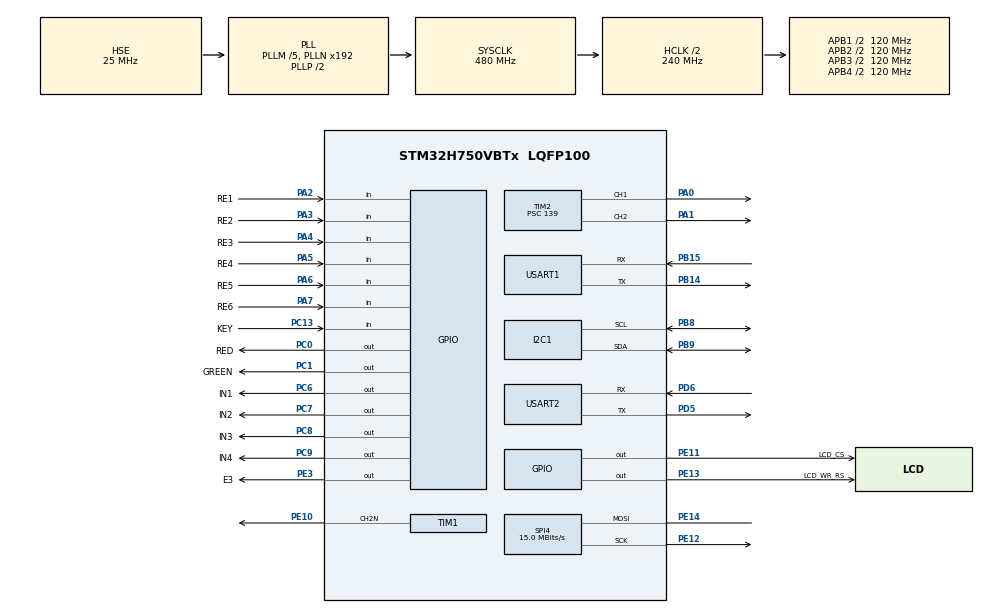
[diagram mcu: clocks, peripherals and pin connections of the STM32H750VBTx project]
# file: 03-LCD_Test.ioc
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I2C1.Timing=0x307075B1
Mcu.Family=STM32H7
Mcu.Name=STM32H750VBTx
Mcu.Package=LQFP100
NVIC.PriorityGroup=NVIC_PRIORITYGROUP_4
NVIC.TIM7_IRQn=true\:0\:0\:false\:false\:true\:true\:true
NVIC.USART2_IRQn=true\:0\:0\:false\:false\:true\:true\:true
PA0.Signal=S_TIM2_CH1
PA1.Signal=S_TIM2_CH2
PA13\ (JTMS/SWDIO).Mode=Serial_Wire
PA13\ (JTMS/SWDIO).Signal=DEBUG_JTMS-SWDIO
PA14\ (JTCK/SWCLK).Mode=Serial_Wire
PA14\ (JTCK/SWCLK).Signal=DEBUG_JTCK-SWCLK
PA2.GPIO_Label=RE1
PA2.Signal=GPIO_Input
PA3.GPIO_Label=RE2
PA3.Signal=GPIO_Input
PA4.GPIO_Label=RE3
PA4.Signal=GPIO_Input
PA5.GPIO_Label=RE4
PA5.Signal=GPIO_Input
PA6.GPIO_Label=RE5
PA6.Signal=GPIO_Input
PA7.GPIO_Label=RE6
PA7.Signal=GPIO_Input
PB14.Mode=Asynchronous
PB14.Signal=USART1_TX
PB15.Mode=Asynchronous
PB15.Signal=USART1_RX
PB8.GPIO_Pu=GPIO_PULLUP
PB8.GPIO_Speed=GPIO_SPEED_FREQ_HIGH
PB8.Mode=I2C
PB8.Signal=I2C1_SCL
PB9.GPIO_Pu=GPIO_PULLUP
PB9.GPIO_Speed=GPIO_SPEED_FREQ_HIGH
PB9.Mode=I2C
PB9.Signal=I2C1_SDA
PC0.GPIO_Label=RED
PC0.Signal=GPIO_Output
PC1.GPIO_Label=GREEN
PC1.Signal=GPIO_Output
PC13.GPIO_Label=KEY
PC13.GPIO_PuPd=GPIO_PULLDOWN
PC13.Signal=GPIO_Input
PC14-OSC32_IN\ (OSC32_IN).Mode=LSE-External-Oscillator
PC14-OSC32_IN\ (OSC32_IN).Signal=RCC_OSC32_IN
PC15-OSC32_OUT\ (OSC32_OUT).Mode=LSE-External-Oscillator
PC15-OSC32_OUT\ (OSC32_OUT).Signal=RCC_OSC32_OUT
PC6.GPIO_Label=IN1
PC6.Signal=GPIO_Output
PC7.GPIO_Label=IN2
PC7.Signal=GPIO_Output
PC8.GPIO_Label=IN3
PC8.Signal=GPIO_Output
PC9.GPIO_Label=IN4
PC9.Signal=GPIO_Output
PD5.Mode=Asynchronous
PD5.Signal=USART2_TX
PD6.Mode=Asynchronous
PD6.Signal=USART2_RX
PE10.Mode=PWM Generation2 CH2N
PE10.Signal=TIM1_CH2N
PE11.GPIO_Label=LCD_CS
PE11.GPIO_Speed=GPIO_SPEED_FREQ_VERY_HIGH
PE11.PinState=GPIO_PIN_SET
PE11.Signal=GPIO_Output
PE12.GPIO_Speed=GPIO_SPEED_FREQ_HIGH
PE12.Mode=Simplex_Bidirectional_Master
PE12.Signal=SPI4_SCK
PE13.GPIO_Label=LCD_WR_RS
PE13.GPIO_Speed=GPIO_SPEED_FREQ_VERY_HIGH
PE13.PinState=GPIO_PIN_SET
PE13.Signal=GPIO_Output
PE14.GPIO_Speed=GPIO_SPEED_FREQ_HIGH
PE14.Mode=Simplex_Bidirectional_Master
PE14.Signal=SPI4_MOSI
PE3.GPIO_Label=E3
PE3.PinState=GPIO_PIN_RESET
PE3.Signal=GPIO_Output
PH0-OSC_IN\ (PH0).Mode=HSE-External-Oscillator
PH0-OSC_IN\ (PH0).Signal=RCC_OSC_IN
PH1-OSC_OUT\ (PH1).Mode=HSE-External-Oscillator
PH1-OSC_OUT\ (PH1).Signal=RCC_OSC_OUT
ProjectManager.HeapSize=0x200
ProjectManager.StackSize=0x400
ProjectManager.TargetToolchain=MDK-ARM V5.27
RCC.ADCFreq_Value=83333333.33333333
RCC.APB1Freq_Value=120000000
RCC.APB2Freq_Value=120000000
RCC.APB3Freq_Value=120000000
RCC.APB4Freq_Value=120000000
RCC.CortexFreq_Value=480000000
RCC.D1PPRE=RCC_APB3_DIV2
RCC.D2PPRE1=RCC_APB1_DIV2
RCC.D2PPRE2=RCC_APB2_DIV2
RCC.D3PPRE=RCC_APB4_DIV2
RCC.DIVM1=5
RCC.DIVM2=6
RCC.DIVN1=192
RCC.DIVN2=40
RCC.DIVQ2=1
RCC.HCLKFreq_Value=240000000
RCC.HPRE=RCC_HCLK_DIV2
RCC.HSE_VALUE=25000000
RCC.PLLFRACN=0
RCC.PLLSourceVirtual=RCC_PLLSOURCE_HSE
RCC.RTCClockSelection=RCC_RTCCLKSOURCE_LSE
RCC.SYSCLKFreq_VALUE=480000000
RCC.SYSCLKSource=RCC_SYSCLKSOURCE_PLLCLK
RCC.USBFreq_Value=480000000
RTC.Hours=12
RTC.Month=RTC_MONTH_JUNE
RTC.Year=20
SH.S_TIM2_CH1.0=TIM2_CH1,PWM Generation1 CH1
SH.S_TIM2_CH2.0=TIM2_CH2,PWM Generation2 CH2
SPI4.BaudRatePrescaler=SPI_BAUDRATEPRESCALER_8
SPI4.CalculateBaudRate=15.0 MBits/s
SPI4.DataSize=SPI_DATASIZE_8BIT
SPI4.Direction=SPI_DIRECTION_1LINE
SPI4.Mode=SPI_MODE_MASTER
SPI4.VirtualType=VM_MASTER
TIM1.Channel-PWM\ Generation2\ CH2N=TIM_CHANNEL_2
TIM1.OCNPolarity_2=TIM_OCNPOLARITY_LOW
TIM1.Period=1000-1
TIM1.Prescaler=12-1
TIM2.AutoReloadPreload=TIM_AUTORELOAD_PRELOAD_ENABLE
TIM2.Channel-PWM\ Generation1\ CH1=TIM_CHANNEL_1
TIM2.Channel-PWM\ Generation2\ CH2=TIM_CHANNEL_2
TIM2.Period=999
TIM2.Prescaler=139
TIM7.AutoReloadPreload=TIM_AUTORELOAD_PRELOAD_ENABLE
TIM7.Period=5000
TIM7.Prescaler=479
USART1.VirtualMode-Asynchronous=VM_ASYNC
USART2.VirtualMode-Asynchronous=VM_ASYNC
VP_RTC_VS_RTC_Activate.Mode=RTC_Enabled
VP_RTC_VS_RTC_Calendar.Mode=RTC_Calendar
VP_TIM2_VS_ClockSourceINT.Mode=Internal
VP_TIM7_VS_ClockSourceINT.Mode=Enable_Timer
board=custom

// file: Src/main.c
/* USER CODE BEGIN Header */
/**
  ******************************************************************************
  * @file           : main.c
  * @brief          : Main program body
  ******************************************************************************
  * @attention
  *
  * <h2><center>&copy; Copyright (c) 2020 STMicroelectronics.
  * All rights reserved.</center></h2>
  *
  * This software component is licensed by ST under BSD 3-Clause license,
  * the "License"; You may not use this file except in compliance with the
  * License. You may obtain a copy of the License at:
  *                        opensource.org/licenses/BSD-3-Clause
  *
  ******************************************************************************
  */
/* USER CODE END Header */
#include "main.h"
#include "i2c.h"
#include "rtc.h"
#include "spi.h"
#include "tim.h"
#include "usart.h"
#include "gpio.h"

/* USER CODE BEGIN Includes */
#include "lcd.h"
#include "pid.h"
#include "control.h"
#include "stdlib.h"
#include "stdio.h"
#include "string.h"
#include "mpu6050.h"
#include "inv_mpu.h"
#include "GoRoom.h"
#include "OpenmvData.h"
/* USER CODE END Includes */

/* USER CODE BEGIN PTD */

//****串口变量***

static uint8_t lcdbuff[20]; //UART字符
static char uart1_buff[20]; //UART字符

/* USER CODE END PTD */

/* USER CODE BEGIN PM */

static void Motor_Locat(int SpeedTarget1,int SpeedTarget2){

}

/* USER CODE END PM */

void SystemClock_Config(void);

/* USER CODE BEGIN 0 */
static void MPU_Config(void)
{
  MPU_Region_InitTypeDef MPU_InitStruct = {0};

  /* Disables the MPU */
  HAL_MPU_Disable();

	/* Configure the MPU attributes for the QSPI 256MB without instruction access */
  MPU_InitStruct.Enable           = MPU_REGION_ENABLE;
  MPU_InitStruct.Number           = MPU_REGION_NUMBER0;
  MPU_InitStruct.BaseAddress      = QSPI_BASE;
  MPU_InitStruct.Size             = MPU_REGION_SIZE_256MB;
  MPU_InitStruct.AccessPermission = MPU_REGION_NO_ACCESS;
  MPU_InitStruct.IsBufferable     = MPU_ACCESS_NOT_BUFFERABLE;
  MPU_InitStruct.IsCacheable      = MPU_ACCESS_NOT_CACHEABLE;
  MPU_InitStruct.IsShareable      = MPU_ACCESS_NOT_SHAREABLE;
  MPU_InitStruct.DisableExec      = MPU_INSTRUCTION_ACCESS_DISABLE;
  MPU_InitStruct.TypeExtField     = MPU_TEX_LEVEL1;
  MPU_InitStruct.SubRegionDisable = 0x00;
  HAL_MPU_ConfigRegion(&MPU_InitStruct);

  /* Configure the MPU attributes for the QSPI 8MB (QSPI Flash Size) to Cacheable WT */
  MPU_InitStruct.Enable           = MPU_REGION_ENABLE;
  MPU_InitStruct.Number           = MPU_REGION_NUMBER1;
  MPU_InitStruct.BaseAddress      = QSPI_BASE;
  MPU_InitStruct.Size             = MPU_REGION_SIZE_8MB;
  MPU_InitStruct.AccessPermission = MPU_REGION_PRIV_RO;
  MPU_InitStruct.IsBufferable     = MPU_ACCESS_BUFFERABLE;
  MPU_InitStruct.IsCacheable      = MPU_ACCESS_CACHEABLE;
  MPU_InitStruct.IsShareable      = MPU_ACCESS_NOT_SHAREABLE;
  MPU_InitStruct.DisableExec      = MPU_INSTRUCTION_ACCESS_ENABLE;
  MPU_InitStruct.TypeExtField     = MPU_TEX_LEVEL1;
  MPU_InitStruct.SubRegionDisable = 0x00;
  HAL_MPU_ConfigRegion(&MPU_InitStruct);

  /* Enables the MPU */
  HAL_MPU_Enable(MPU_PRIVILEGED_DEFAULT);
}

static void CPU_CACHE_Enable(void)
{
  /* Enable I-Cache */
  SCB_EnableICache();

  /* Enable D-Cache */
  SCB_EnableDCache();
}

static void LED_Blink(uint32_t Hdelay,uint32_t Ldelay)
{
	HAL_GPIO_WritePin(E3_GPIO_Port,E3_Pin,GPIO_PIN_SET);
	HAL_Delay(Hdelay - 1);
	HAL_GPIO_WritePin(E3_GPIO_Port,E3_Pin,GPIO_PIN_RESET);
	HAL_Delay(Ldelay-1);
}

/**
  * @brief  Get the current time and date.
  * @param
  * @retval None
  */
static void RTC_CalendarShow(RTC_DateTypeDef *sdatestructureget,RTC_TimeTypeDef *stimestructureget)
{
  /* 必须同时获取时间和日期 不然会导致下次RTC不能读取 */
  /* Both time and date must be obtained or RTC cannot be read next time */
  /* Get the RTC current Time */
  HAL_RTC_GetTime(&hrtc, stimestructureget, RTC_FORMAT_BIN);
  /* Get the RTC current Date */
  HAL_RTC_GetDate(&hrtc, sdatestructureget, RTC_FORMAT_BIN);
}
#pragma import(__use_no_semihosting)
/* 解决HAL库使用时, 某些情况可能报错的bug */
int _ttywrch(int ch)
{
    ch = ch;
    return ch;
}

/* 解决HAL库使用时, 某些情况可能报错的bug */
struct __FILE
{
    int handle;
    /* Whatever you require here. If the only file you are using is */
    /* standard output using printf() for debugging, no file handling */
    /* is required. */
};

/* FILE is typedef’ d in stdio.h. */
FILE __stdout;

/* 定义_sys_exit()以避免使用半主机模式 */
void _sys_exit(int x)
{
    x = x;
}
/* 重定义fputc函数, printf函数最终会通过调用fputc输出字符串到串口 */
int fputc(int ch, FILE *f)
{
    HAL_UART_Transmit(&huart1 , (uint8_t *)&ch, 1, 0xFFF);
    return ch;
}

//***功能函数区

/* USER CODE END 0 */

int main(void)
{
  /* USER CODE BEGIN 1 */

  #ifdef W25Qxx
    SCB->VTOR = QSPI_BASE;
  #endif
  MPU_Config();
  CPU_CACHE_Enable();

	MotorOutput1 = 300;
	MotorOutput2 = 300;
	int i =0;
	u8 Num_temporary = 0;	//数字缓存
	u8 Num_Lock  = 0;		//数字确定
	u8 Num_Renum = 0;       //锁定次数  5次确定
//	float Z_Angle = 0;
//	uint8_t Z_Turn = 0;
	uint8_t recv = 0x00;

  /* USER CODE END 1 */

  /* MCU Configuration--------------------------------------------------------*/

  /* Reset of all peripherals, Initializes the Flash interface and the Systick. */
  HAL_Init();

  /* Configure the system clock */
  SystemClock_Config();

  /* Initialize all configured peripherals */
  MX_GPIO_Init();
  MX_RTC_Init();
  MX_SPI4_Init();
  MX_TIM1_Init();
  MX_TIM2_Init();
  MX_USART2_UART_Init();
  MX_USART1_UART_Init();
  MX_I2C1_Init();
  MX_TIM7_Init();
  /* USER CODE BEGIN 2 */
	Yellow_LED(0);
	LCD_Test();
  	__HAL_UART_CLEAR_IDLEFLAG(&huart2);

//	sprintf((char *)&text,"TI_Car");
//	LCD_ShowString(4, 6, 160, 14, 14, text);

  /* USER CODE END 2 */

  /* Infinite loop */
  /* USER CODE BEGIN WHILE */
	Motor_X(0);
//	__HAL_TIM_SetCompare(&htim2,TIM_CHANNEL_1,350);//调试用
//	__HAL_TIM_SetCompare(&htim2,TIM_CHANNEL_2,350);//调试用

	HAL_TIM_PWM_Start(&htim2,TIM_CHANNEL_1);
	HAL_TIM_PWM_Start(&htim2,TIM_CHANNEL_2);
	HAL_TIM_Base_Stop_IT(&htim7);
//	for(i = 0;i<5;i++)
//	{
//		Motor_X(i);
//		HAL_Delay(1000);
//	}

	//重新设置返回点
	RESET:
	  /*
   *iic读取器件ID
   */

	  HAL_I2C_Mem_Read(&hi2c1, (0x68 << 1), 0x75, I2C_MEMADD_SIZE_8BIT, &recv, 1, 0xfff);
	  if (recv == 0x68)
	  {
		printf("mpu6050 ID Read: OK at 0x68\r\n");
	  }
	  else
	  {
		printf("Err mpu id:0x%x\r\n", recv);
		goto RESET;
	  }

	  /*
	   *DMP初始化
	   */
	  while (mpu_dmp_init())
	  {
		HAL_Delay(200);
	  }
	  HAL_Delay(500);

	  //重开任务返回点
	  REMAKE:
	  Num_Renum = 0;
	  Yellow_LED(1);
	  /*
	  等待数字输入
	  */
		while(Num_Renum < 5)
		{
			if( OpenmvData())
			{
				if(Num_temporary != Xdate && Xdate != 0)
				{
					Num_temporary = Xdate;
					Num_Renum = 0;
				}
				else
				{
					Num_Renum +=1;
				}
				printf("Getnum:%d",Num_temporary);
			}
			//printf("Noone");
		}

		//*****满五次跳出 确定数字无误
		Num_Lock = Num_temporary;  //锁定数字
		printf("Lock:%d",Num_Lock);
		sprintf((char * )lcdbuff,"Lock:%d",Num_Lock);
		LCD_ShowString(4, 6, 160, 14, 14,lcdbuff);
		Yellow_LED(0);
	  /*
	  开始运行
	  */
		HAL_Delay(100);
//		HAL_TIM_Base_Start(&htim7);                // 使能定时器中断(20ms) 50hz
		__HAL_TIM_SetCompare(&htim2,TIM_CHANNEL_1,300);//
		__HAL_TIM_SetCompare(&htim2,TIM_CHANNEL_2,300);//
		Motor_X(1);
	  while (1)
	  {
		  	Motor_X(1);
			LCD_ShowString(4, 26, 160, 14, 14,(uint8_t * )"Whit Cross1  ");
			//**巡线等第一个十字
//			while(1)
//			{
//				i = Lock_Line();
//				if(i >2){break;}
//			}
		  //****主程序
		  if(Num_Lock <=2)
		  {
			  GOROOM1(Num_Lock);
			  Num_Lock = 0;
			  goto REMAKE;
		  }
//			mpu_dmp_get_data(&Gyro[2]);		    //调试用
//			printf("Z=%.2f\r\n",Gyro[2]);
		  //		  }
//		  	Turn_Set(1);
//		  	HAL_Delay(2000);
//		 	Turn_Set(2);
//		 	HAL_Delay(2000);
//			HAL_Delay(50);

	  }

	printf("END！\r\n");

    /* USER CODE END WHILE */

}

void SystemClock_Config(void)
{
  RCC_OscInitTypeDef RCC_OscInitStruct = {0};
  RCC_ClkInitTypeDef RCC_ClkInitStruct = {0};

  /** Supply configuration update enable
  */
  HAL_PWREx_ConfigSupply(PWR_LDO_SUPPLY);
  /** Configure the main internal regulator output voltage
  */
  __HAL_PWR_VOLTAGESCALING_CONFIG(PWR_REGULATOR_VOLTAGE_SCALE0);

  while(!__HAL_PWR_GET_FLAG(PWR_FLAG_VOSRDY)) {}
  /** Configure LSE Drive Capability
  */
  HAL_PWR_EnableBkUpAccess();
  __HAL_RCC_LSEDRIVE_CONFIG(RCC_LSEDRIVE_LOW);
  /** Initializes the RCC Oscillators according to the specified parameters
  * in the RCC_OscInitTypeDef structure.
  */
  RCC_OscInitStruct.OscillatorType = RCC_OSCILLATORTYPE_HSE|RCC_OSCILLATORTYPE_LSE;
  RCC_OscInitStruct.HSEState = RCC_HSE_ON;
  RCC_OscInitStruct.LSEState = RCC_LSE_ON;
  RCC_OscInitStruct.PLL.PLLState = RCC_PLL_ON;
  RCC_OscInitStruct.PLL.PLLSource = RCC_PLLSOURCE_HSE;
  RCC_OscInitStruct.PLL.PLLM = 5;
  RCC_OscInitStruct.PLL.PLLN = 192;
  RCC_OscInitStruct.PLL.PLLP = 2;
  RCC_OscInitStruct.PLL.PLLQ = 2;
  RCC_OscInitStruct.PLL.PLLR = 2;
  RCC_OscInitStruct.PLL.PLLRGE = RCC_PLL1VCIRANGE_2;
  RCC_OscInitStruct.PLL.PLLVCOSEL = RCC_PLL1VCOWIDE;
  RCC_OscInitStruct.PLL.PLLFRACN = 0;
  if (HAL_RCC_OscConfig(&RCC_OscInitStruct) != HAL_OK)
  {
    Error_Handler();
  }
  /** Initializes the CPU, AHB and APB buses clocks
  */
  RCC_ClkInitStruct.ClockType = RCC_CLOCKTYPE_HCLK|RCC_CLOCKTYPE_SYSCLK
                              |RCC_CLOCKTYPE_PCLK1|RCC_CLOCKTYPE_PCLK2
                              |RCC_CLOCKTYPE_D3PCLK1|RCC_CLOCKTYPE_D1PCLK1;
  RCC_ClkInitStruct.SYSCLKSource = RCC_SYSCLKSOURCE_PLLCLK;
  RCC_ClkInitStruct.SYSCLKDivider = RCC_SYSCLK_DIV1;
  RCC_ClkInitStruct.AHBCLKDivider = RCC_HCLK_DIV2;
  RCC_ClkInitStruct.APB3CLKDivider = RCC_APB3_DIV2;
  RCC_ClkInitStruct.APB1CLKDivider = RCC_APB1_DIV2;
  RCC_ClkInitStruct.APB2CLKDivider = RCC_APB2_DIV2;
  RCC_ClkInitStruct.APB4CLKDivider = RCC_APB4_DIV2;

  if (HAL_RCC_ClockConfig(&RCC_ClkInitStruct, FLASH_LATENCY_4) != HAL_OK)
  {
    Error_Handler();
  }
}

/* USER CODE BEGIN 4 */
void HAL_TIM_PeriodElapsedCallback(TIM_HandleTypeDef *htim)
{

    if (htim == (&htim7))
    {
//		mpu_dmp_get_data(&Gyro[2]);
//		printf("Z=%.2f\r\n",Gyro[2]);
	}
}
/* USER CODE END 4 */

void Error_Handler(void)
{
  /* USER CODE BEGIN Error_Handler_Debug */
  /* User can add his own implementation to report the HAL error return state */
  LED_Blink(500,500);
  /* USER CODE END Error_Handler_Debug */
}

/************************ (C) COPYRIGHT STMicroelectronics *****END OF FILE****/
